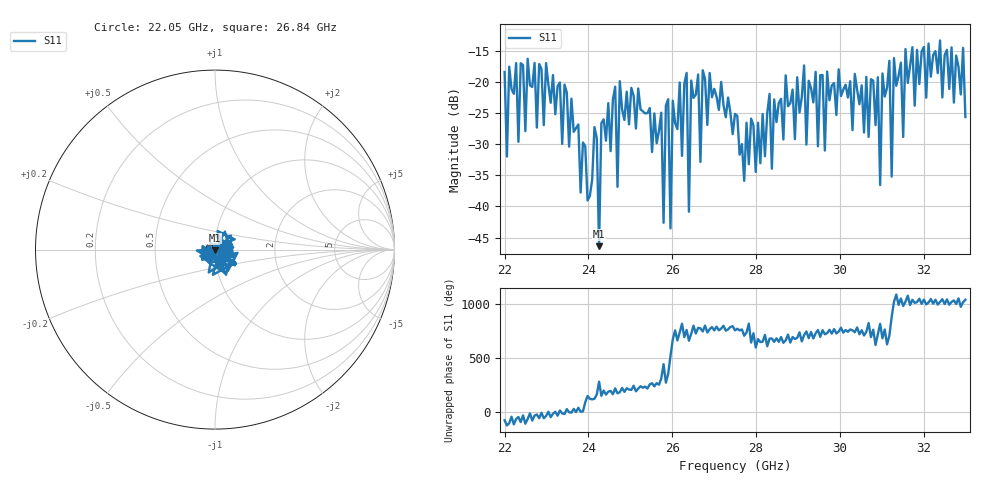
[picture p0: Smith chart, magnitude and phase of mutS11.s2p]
!Keysight Technologies,N5224B,MY57181201,A.12.70.07
!Date: Friday, July 15, 2022 11:57:16
!Correction: S11(Off)
!S21(Off)
!S12(Off)
!S22(Off)
!S2P File: Measurements: S11, S21, S12, S22:
# Hz S  dB  R 50
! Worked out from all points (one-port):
!   201 points, 22 GHz to 33 GHz, reference 50 ohm
!   lowest |S11| = -46.4 dB at 24.25 GHz (marker M1), VSWR 1.01, Z = 50.1 - j0.473 ohm
!   |S11| at or under -10 dB: start of sweep to end of sweep
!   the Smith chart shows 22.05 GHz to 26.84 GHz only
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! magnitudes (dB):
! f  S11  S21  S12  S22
! 22 GHz  -18.4  -  -  -
! 23.87 GHz  -29.7  -  -  -
! 24.25 GHz  -46.4  -  -  -
! 24.31 GHz  -26.6  -  -  -
! 24.64 GHz  -20.8  -  -  -
! 24.7 GHz  -36.8  -  -  -
! 25.68 GHz  -27.9  -  -  -
! 25.8 GHz  -42.6  -  -  -
! 25.91 GHz  -22.8  -  -  -
! 25.96 GHz  -43.5  -  -  -
! 26.18 GHz  -20.1  -  -  -
! 26.34 GHz  -18.6  -  -  -
! 26.4 GHz  -40.8  -  -  -
! 26.45 GHz  -19.8  -  -  -
! 27.5 GHz  -25.1  -  -  -
! 29.37 GHz  -23.3  -  -  -
! 30.91 GHz  -19.3  -  -  -
! 30.96 GHz  -36.6  -  -  -
! 31.18 GHz  -16.6  -  -  -
! 31.24 GHz  -35.2  -  -  -
! 31.3 GHz  -16.2  -  -  -
! 33 GHz  -25.6  -  -  -
